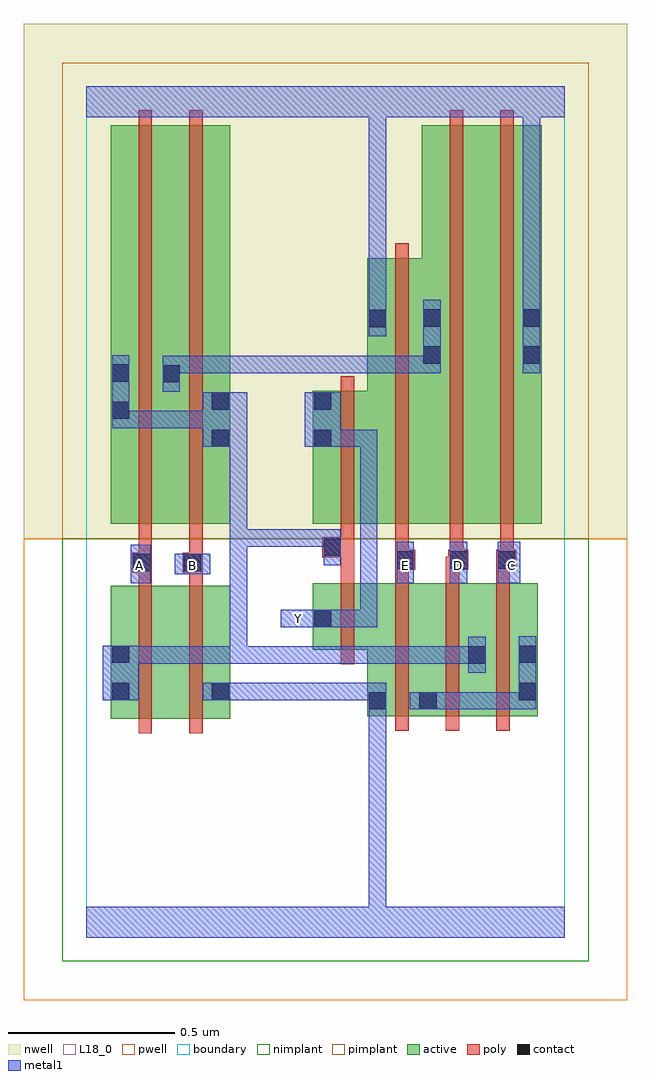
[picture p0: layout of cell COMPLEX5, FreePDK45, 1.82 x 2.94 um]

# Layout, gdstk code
import gdstk
lib = gdstk.Library(unit=1e-6, precision=1e-09)
def R(c, l, rs):  # rectangles x0, y0, x1, y1
    for r in rs: c.add(gdstk.rectangle(r[:2], r[2:], *l))
def A(c, l, x, y, w, h, nx, ny, dx, dy):  # array of equal rectangles
    R(c, l, [(x+i*dx, y+j*dy, x+i*dx+w, y+j*dy+h) for i in range(nx) for j in range(ny)])
active = (1, 0)
pwell = (2, 0)
nwell = (3, 0)
nimplant = (4, 0)
pimplant = (5, 0)
poly = (9, 0)
contact = (10, 0)
metal1 = (11, 0)
L18_0 = (18, 0)
boundary = (235, 0)

complex5 = lib.new_cell('COMPLEX5')
R(complex5, active, [(0.074,0.658,0.134,1.058), (0.074,0.658,0.254,1.058), (0.254,0.658,0.434,1.058), (0.374,0.658,0.434,0.77), (0.846,0.666,1.058,1.066), (0.998,0.666,1.206,1.066), (0.998,0.666,1.058,0.742), (1.146,0.666,1.358,1.066), (1.146,0.666,1.206,0.88), (1.298,0.666,1.358,1.066), (0.846,0.682,0.906,1.066), (0.682,0.866,0.906,1.066), (0.682,0.93,0.742,1.066), (0.074,1.244,0.134,2.4), (0.074,1.244,0.286,2.444), (0.226,1.244,0.434,2.444), (0.374,1.244,0.434,2.296), (0.682,1.244,0.742,1.644), (0.682,1.244,0.906,1.644), (0.846,1.244,1.07,2.044), (0.846,1.244,0.906,1.892), (1.01,1.244,1.19,2.444), (1.01,1.244,1.07,2.4), (1.19,1.244,1.37,2.444), (1.31,1.244,1.37,2.444), (0.226,1.286,0.286,2.4)])
R(complex5, pwell, [(-0.188,-0.188,1.628,1.2)])
R(complex5, nwell, [(-0.188,1.2,1.628,2.748)])
R(complex5, nimplant, [(-0.072,-0.072,1.512,1.2)])
R(complex5, pimplant, [(-0.072,1.2,1.512,2.632)])
A(complex5, poly, 0.93, 0.622, 0.04, 0.488, 3, 1, 0.152, 0)
A(complex5, poly, 0.93, 1.07, 0.04, 0.076, 3, 1, 0.152, 0)
R(complex5, poly, [(0.158,0.614,0.198,1.102), (0.31,0.614,0.35,1.102), (0.766,0.822,0.806,1.11), (0.158,1.062,0.198,1.138), (0.31,1.062,0.35,1.138), (0.766,1.07,0.806,1.184), (0.138,1.098,0.198,1.158), (0.158,1.098,0.198,1.138), (0.158,1.098,0.198,1.138), (0.29,1.098,0.35,1.158), (0.93,1.106,0.97,1.146), (0.93,1.106,0.97,1.146), (0.93,1.106,0.99,1.166), (1.082,1.106,1.13,1.146), (1.09,1.106,1.13,1.146), (1.09,1.106,1.15,1.166), (1.234,1.106,1.274,1.146), (1.234,1.106,1.274,1.146), (1.234,1.106,1.294,1.166), (0.158,1.118,0.198,1.24), (0.31,1.118,0.35,1.158), (0.31,1.118,0.35,1.158), (0.31,1.118,0.35,1.24), (0.93,1.126,0.97,1.24), (1.094,1.126,1.134,1.24), (1.246,1.126,1.286,1.24), (0.71,1.144,0.806,1.204), (0.766,1.144,0.806,1.184), (0.766,1.144,0.806,1.184), (0.766,1.164,0.806,1.24), (0.158,1.2,0.198,2.488), (0.31,1.2,0.35,2.488), (0.766,1.2,0.806,1.688), (0.93,1.2,0.97,2.088), (1.094,1.2,1.134,2.488), (1.246,1.2,1.286,2.488)])
R(complex5, contact, [(0.85,0.686,0.902,0.738), (1.002,0.686,1.054,0.738), (0.078,0.714,0.13,0.766), (0.378,0.714,0.43,0.766), (1.302,0.714,1.354,0.766), (1.15,0.824,1.202,0.876), (0.078,0.826,0.13,0.878), (1.302,0.826,1.354,0.878), (0.686,0.934,0.738,0.986), (0.142,1.102,0.194,1.154), (0.294,1.102,0.346,1.154), (0.934,1.11,0.986,1.162), (1.094,1.11,1.146,1.162), (1.238,1.11,1.29,1.162), (0.714,1.148,0.766,1.2), (0.378,1.476,0.43,1.528), (0.686,1.476,0.738,1.528), (0.078,1.56,0.13,1.612), (0.378,1.588,0.43,1.64), (0.686,1.588,0.738,1.64), (0.23,1.67,0.282,1.722), (0.078,1.672,0.13,1.724), (1.014,1.726,1.066,1.778), (1.314,1.726,1.366,1.778), (0.85,1.836,0.902,1.888), (1.014,1.838,1.066,1.89), (1.314,1.838,1.366,1.89)])
R(complex5, metal1, [(0,0,1.44,0.092), (0.85,0.04,0.902,0.092), (0.85,0.04,0.902,0.092), (0.85,0.04,0.902,0.092), (0.85,0.04,0.902,0.092), (0.85,0.04,0.902,0.092), (0.85,0.04,0.902,0.092), (0.85,0.04,0.902,0.092), (0.85,0.04,0.902,0.092), (0.85,0.04,0.902,0.092), (0.85,0.04,0.902,0.092), (0.85,0.04,0.902,0.71), (0.85,0.658,0.902,0.71), (0.85,0.658,0.902,0.71), (0.85,0.658,0.902,0.766), (0.974,0.686,1.082,0.738), (1.03,0.686,1.082,0.738), (1.03,0.686,1.082,0.738), (1.03,0.686,1.192,0.738), (1.14,0.686,1.192,0.738), (1.14,0.686,1.354,0.738), (1.302,0.686,1.354,0.906), (1.302,0.686,1.354,0.738), (1.302,0.686,1.354,0.738), (0.05,0.714,0.158,0.878), (0.35,0.714,0.458,0.766), (0.406,0.714,0.766,0.766), (0.714,0.714,0.766,0.766), (0.714,0.714,0.766,0.766), (0.714,0.714,0.766,0.766), (0.714,0.714,0.902,0.766), (1.15,0.796,1.202,0.904), (0.106,0.824,0.158,0.876), (0.106,0.824,0.158,0.876), (0.106,0.824,0.268,0.876), (0.216,0.824,0.268,0.876), (0.216,0.824,0.268,0.876), (0.216,0.824,0.268,0.876), (0.216,0.824,0.484,0.876), (0.432,0.824,0.484,0.876), (0.432,0.824,0.484,0.876), (0.432,0.824,0.484,0.876), (0.432,0.824,0.484,0.876), (0.432,0.824,0.484,0.876), (0.432,0.824,0.766,0.876), (0.432,0.824,0.484,1.228), (0.714,0.824,0.766,0.876), (0.714,0.824,0.876,0.876), (0.824,0.824,0.876,0.876), (0.824,0.824,0.876,0.876), (0.824,0.824,0.876,0.876), (0.824,0.824,0.876,0.876), (0.824,0.824,0.876,0.876), (0.824,0.824,1.082,0.876), (1.03,0.824,1.082,0.876), (1.03,0.824,1.082,0.876), (1.03,0.824,1.082,0.876), (1.03,0.824,1.202,0.876), (0.586,0.934,0.71,0.986), (0.658,0.934,0.71,0.986), (0.658,0.934,0.71,0.986), (0.658,0.934,0.71,0.986), (0.658,0.934,0.766,0.986), (0.658,0.934,0.876,0.986), (0.824,0.934,0.876,0.986), (0.824,0.934,0.876,1.528), (0.134,1.066,0.194,1.182), (0.934,1.066,0.986,1.19), (1.094,1.066,1.146,1.19), (1.238,1.066,1.306,1.19), (0.266,1.092,0.374,1.154), (0.714,1.12,0.766,1.228), (0.432,1.176,0.484,1.228), (0.432,1.176,0.484,1.228), (0.432,1.176,0.484,1.228), (0.432,1.176,0.766,1.228), (0.432,1.176,0.484,1.528), (0.714,1.176,0.766,1.228), (0.714,1.176,0.766,1.228), (0.35,1.476,0.484,1.64), (0.658,1.476,0.766,1.64), (0.714,1.476,0.766,1.528), (0.714,1.476,0.766,1.528), (0.714,1.476,0.876,1.528), (0.824,1.476,0.876,1.528), (0.824,1.476,0.876,1.528), (0.824,1.476,0.876,1.528), (0.078,1.532,0.13,1.752), (0.078,1.532,0.13,1.584), (0.078,1.532,0.13,1.584), (0.078,1.532,0.292,1.584), (0.24,1.532,0.292,1.584), (0.24,1.532,0.292,1.584), (0.24,1.532,0.292,1.584), (0.24,1.532,0.402,1.584), (0.23,1.642,0.282,1.75), (0.23,1.698,0.282,1.75), (0.23,1.698,0.282,1.75), (0.23,1.698,0.6,1.75), (0.548,1.698,0.6,1.75), (0.548,1.698,0.71,1.75), (0.658,1.698,0.71,1.75), (0.658,1.698,0.71,1.75), (0.658,1.698,0.71,1.75), (0.658,1.698,0.916,1.75), (0.864,1.698,0.916,1.75), (0.864,1.698,0.972,1.75), (0.92,1.698,0.972,1.75), (0.92,1.698,1.066,1.75), (1.014,1.698,1.066,1.918), (1.314,1.698,1.366,1.918), (0.85,1.808,0.902,1.916), (0.85,1.864,0.902,1.916), (0.85,1.864,0.902,1.916), (0.85,1.864,0.902,1.916), (0.85,1.864,0.902,1.916), (0.85,1.864,0.902,2.52), (1.314,1.866,1.366,2.52), (0,2.468,1.44,2.56), (0.85,2.468,0.902,2.52), (0.85,2.468,0.902,2.52), (0.85,2.468,0.902,2.52), (0.85,2.468,0.902,2.52)])
A(complex5, L18_0, 0.934, 1.094, 0.052, 0.052, 3, 1, 0.16, 0)
R(complex5, L18_0, [(0,0,1.44,0.092), (0.85,0.04,0.902,0.092), (0.85,0.04,0.902,0.092), (0.85,0.04,0.902,0.092), (0.85,0.04,0.902,0.092), (0.85,0.04,0.902,0.092), (0.85,0.04,0.902,0.092), (0.85,0.04,0.902,0.092), (0.85,0.04,0.902,0.092), (0.85,0.04,0.902,0.092), (0.85,0.04,0.902,0.092), (0.85,0.04,0.902,0.71), (0.85,0.658,0.902,0.71), (0.85,0.658,0.902,0.71), (0.85,0.658,0.902,0.766), (0.35,0.714,0.458,0.766), (0.406,0.714,0.766,0.766), (0.714,0.714,0.766,0.766), (0.714,0.714,0.766,0.766), (0.714,0.714,0.766,0.766), (0.714,0.714,0.902,0.766), (0.586,0.934,0.71,0.986), (0.614,0.934,0.666,0.986), (0.658,0.934,0.766,0.986), (0.658,0.934,0.71,0.986), (0.658,0.934,0.71,0.986), (0.658,0.934,0.71,0.986), (0.658,0.934,0.876,0.986), (0.824,0.934,0.876,0.986), (0.824,0.934,0.876,1.528), (0.134,1.066,0.194,1.182), (0.934,1.066,0.986,1.19), (1.094,1.066,1.146,1.19), (1.238,1.066,1.306,1.19), (0.266,1.092,0.374,1.154), (0.134,1.094,0.186,1.146), (0.294,1.094,0.346,1.146), (0.658,1.476,0.766,1.64), (0.714,1.476,0.766,1.528), (0.714,1.476,0.766,1.528), (0.714,1.476,0.876,1.528), (0.824,1.476,0.876,1.528), (0.824,1.476,0.876,1.528), (0.824,1.476,0.876,1.528), (1.314,1.698,1.366,1.918), (0.85,1.808,0.902,1.916), (0.85,1.864,0.902,1.916), (0.85,1.864,0.902,1.916), (0.85,1.864,0.902,1.916), (0.85,1.864,0.902,1.916), (0.85,1.864,0.902,2.52), (1.314,1.866,1.366,2.52), (0,2.468,1.44,2.56), (0.85,2.468,0.902,2.52), (0.85,2.468,0.902,2.52), (0.85,2.468,0.902,2.52), (0.85,2.468,0.902,2.52)])
R(complex5, boundary, [(0,0,1.44,2.56)])
complex5.add(gdstk.Label('A', (0.16,1.12), layer=11, texttype=0))
complex5.add(gdstk.Label('B', (0.32,1.12), layer=11, texttype=0))
complex5.add(gdstk.Label('C', (1.28,1.12), layer=11, texttype=0))
complex5.add(gdstk.Label('D', (1.12,1.12), layer=11, texttype=0))
complex5.add(gdstk.Label('E', (0.96,1.12), layer=11, texttype=0))
complex5.add(gdstk.Label('Y', (0.64,0.96), layer=11, texttype=0))

lib.write_gds('COMPLEX5.gds')
